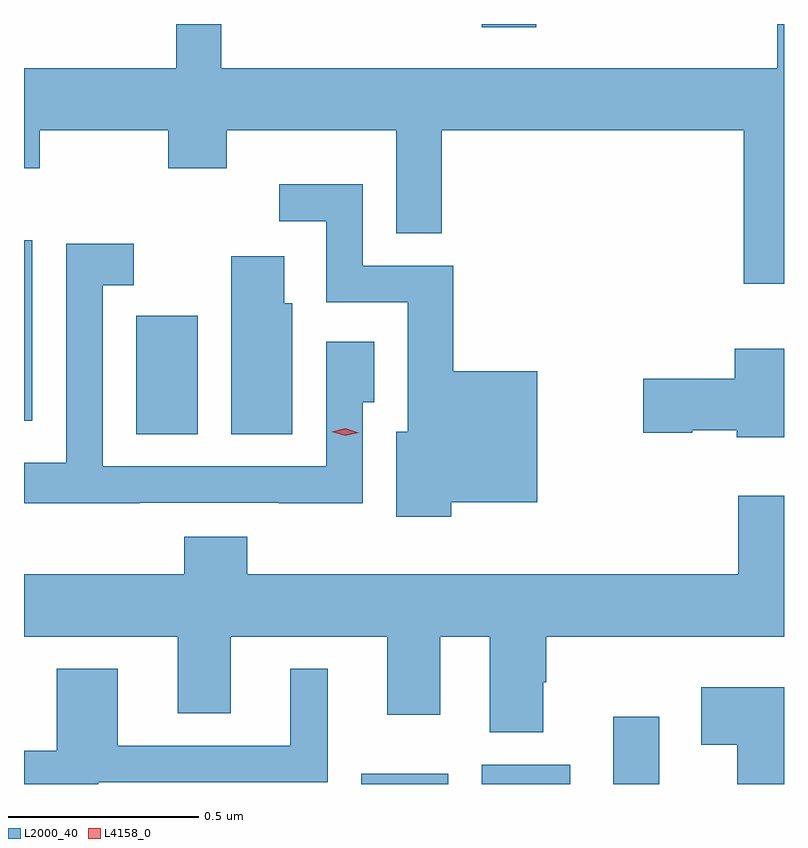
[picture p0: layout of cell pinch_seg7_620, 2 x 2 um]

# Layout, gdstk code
import gdstk
lib = gdstk.Library(unit=1e-6, precision=1e-09)
def R(c, l, rs):  # rectangles x0, y0, x1, y1
    for r in rs: c.add(gdstk.rectangle(r[:2], r[2:], *l))
def P(c, l, *ps):  # polygons
    for p in ps: c.add(gdstk.Polygon(p, *l))
L2000_40 = (2000, 40)
L4158_0 = (4158, 0)

pinch_seg7_620 = lib.new_cell('pinch_seg7_620')
R(pinch_seg7_620, L2000_40, [(226.31,1048.18,226.54,1048.207), (226.628,1048.18,226.861,1048.231), (226.973,1048.18,227.095,1048.357), (225.719,1049.101,225.88,1049.412), (225.423,1049.136,225.445,1049.611), (226.628,1050.171,226.771,1050.18), (226.395,1050.179,226.489,1050.18)])
P(pinch_seg7_620, L2000_40, [(227.423,1050.18),(227.405,1050.18),(227.405,1050.064),(225.942,1050.064),(225.942,1050.18),(225.823,1050.18),(225.823,1050.064),(225.423,1050.064),(225.423,1049.801),(225.465,1049.801),(225.465,1049.9),(225.802,1049.9),(225.802,1049.801),(225.957,1049.801),(225.957,1049.9),(226.403,1049.9),(226.403,1049.629),(226.522,1049.629),(226.522,1049.9),(227.317,1049.9),(227.317,1049.496),(227.423,1049.496)],
  [(226.547,1048.922),(226.774,1048.922),(226.774,1049.266),(226.552,1049.266),(226.552,1049.544),(226.314,1049.544),(226.314,1049.758),(226.095,1049.758),(226.095,1049.661),(226.218,1049.661),(226.218,1049.448),(226.433,1049.448),(226.433,1049.107),(226.403,1049.107),(226.403,1048.883),(226.547,1048.883)],
  [(225.727,1048.92),(226.093,1048.92),(226.093,1048.919),(226.314,1048.919),(226.314,1049.185),(226.345,1049.185),(226.345,1049.344),(226.218,1049.344),(226.218,1049.016),(225.63,1049.016),(225.63,1049.493),(225.712,1049.493),(225.712,1049.602),(225.534,1049.602),(225.534,1049.026),(225.423,1049.026),(225.423,1048.919),(225.727,1048.919)],
  [(226.129,1049.445),(226.108,1049.445),(226.108,1049.569),(225.968,1049.569),(225.968,1049.101),(226.129,1049.101)],
  [(227.423,1049.326),(227.294,1049.326),(227.294,1049.246),(227.052,1049.246),(227.052,1049.104),(227.181,1049.104),(227.181,1049.111),(227.298,1049.111),(227.298,1049.093),(227.423,1049.093)],
  [(226.789,1048.448),(226.797,1048.448),(226.797,1048.568),(227.423,1048.568),(227.423,1048.939),(227.303,1048.939),(227.303,1048.732),(226.01,1048.732),(226.01,1048.831),(225.845,1048.831),(225.845,1048.732),(225.423,1048.732),(225.423,1048.568),(225.827,1048.568),(225.827,1048.366),(225.967,1048.366),(225.967,1048.568),(226.379,1048.568),(226.379,1048.362),(226.519,1048.362),(226.519,1048.568),(226.649,1048.568),(226.649,1048.316),(226.789,1048.316)],
  [(225.618,1048.185),(226.222,1048.185),(226.222,1048.483),(226.124,1048.483),(226.124,1048.281),(225.67,1048.281),(225.67,1048.483),(225.509,1048.483),(225.509,1048.267),(225.423,1048.267),(225.423,1048.18),(225.618,1048.18)],
  [(227.423,1048.435),(227.205,1048.435),(227.205,1048.283),(227.3,1048.283),(227.3,1048.18),(227.423,1048.18)])
P(pinch_seg7_620, L4158_0, [(226.268,1049.096),(226.233,1049.107),(226.233,1049.107),(226.233,1049.107),(226.268,1049.116),(226.304,1049.105),(226.304,1049.105),(226.304,1049.105)])

lib.write_gds('pinch_seg7_620.gds')
